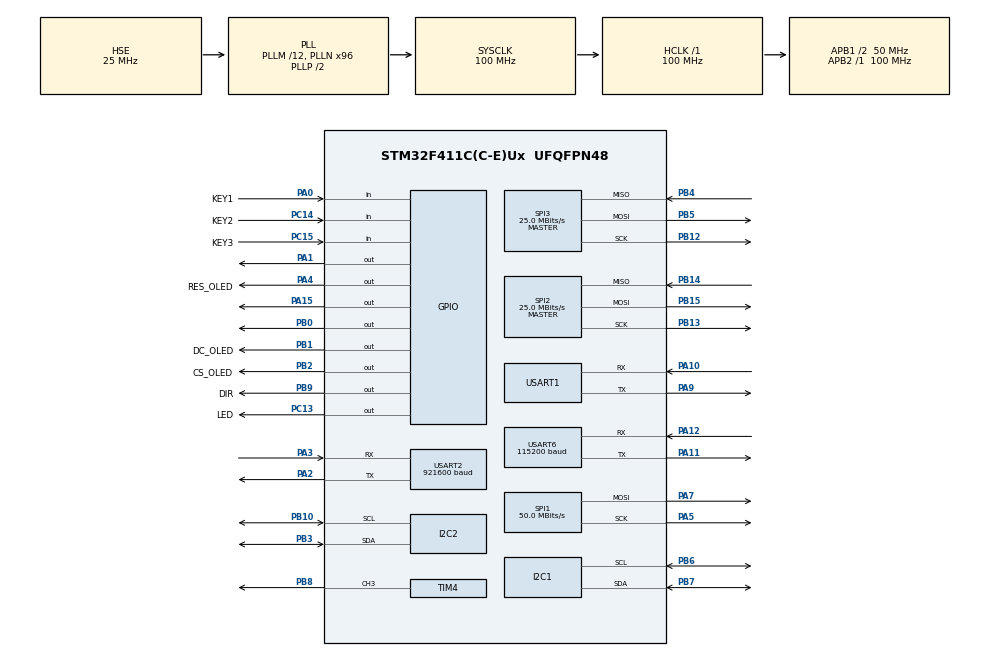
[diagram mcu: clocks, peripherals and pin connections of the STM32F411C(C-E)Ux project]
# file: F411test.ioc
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Dma.Request0=USART1_RX
Dma.Request1=USART6_RX
Dma.USART1_RX.0.Direction=DMA_PERIPH_TO_MEMORY
Dma.USART1_RX.0.FIFOMode=DMA_FIFOMODE_DISABLE
Dma.USART1_RX.0.Instance=DMA2_Stream2
Dma.USART1_RX.0.MemDataAlignment=DMA_MDATAALIGN_BYTE
Dma.USART1_RX.0.MemInc=DMA_MINC_ENABLE
Dma.USART1_RX.0.Mode=DMA_NORMAL
Dma.USART1_RX.0.PeriphDataAlignment=DMA_PDATAALIGN_BYTE
Dma.USART1_RX.0.PeriphInc=DMA_PINC_DISABLE
Dma.USART1_RX.0.Priority=DMA_PRIORITY_HIGH
Dma.USART6_RX.1.Direction=DMA_PERIPH_TO_MEMORY
Dma.USART6_RX.1.FIFOMode=DMA_FIFOMODE_DISABLE
Dma.USART6_RX.1.Instance=DMA2_Stream1
Dma.USART6_RX.1.MemDataAlignment=DMA_MDATAALIGN_BYTE
Dma.USART6_RX.1.MemInc=DMA_MINC_ENABLE
Dma.USART6_RX.1.Mode=DMA_NORMAL
Dma.USART6_RX.1.PeriphDataAlignment=DMA_PDATAALIGN_BYTE
Dma.USART6_RX.1.PeriphInc=DMA_PINC_DISABLE
Dma.USART6_RX.1.Priority=DMA_PRIORITY_VERY_HIGH
Mcu.Family=STM32F4
Mcu.Name=STM32F411C(C-E)Ux
Mcu.Package=UFQFPN48
NVIC.DMA2_Stream1_IRQn=true\:0\:0\:false\:false\:true\:false\:true\:true
NVIC.DMA2_Stream2_IRQn=true\:0\:0\:false\:false\:true\:false\:true\:true
NVIC.PriorityGroup=NVIC_PRIORITYGROUP_4
NVIC.TIM2_IRQn=true\:2\:0\:true\:false\:true\:true\:true\:true
NVIC.TIM4_IRQn=true\:0\:0\:false\:false\:true\:true\:true\:true
NVIC.USART1_IRQn=true\:1\:0\:true\:false\:true\:true\:true\:true
NVIC.USART6_IRQn=true\:0\:0\:true\:false\:true\:true\:true\:true
PA0-WKUP.GPIO_Label=KEY1
PA0-WKUP.GPIO_PuPd=GPIO_PULLDOWN
PA0-WKUP.Signal=GPIO_Input
PA1.Signal=GPIO_Output
PA10.Mode=Asynchronous
PA10.Signal=USART1_RX
PA11.Mode=Asynchronous
PA11.Signal=USART6_TX
PA12.Mode=Asynchronous
PA12.Signal=USART6_RX
PA13.Mode=Serial_Wire
PA13.Signal=SYS_JTMS-SWDIO
PA14.Mode=Serial_Wire
PA14.Signal=SYS_JTCK-SWCLK
PA15.Signal=GPIO_Output
PA2.Mode=Asynchronous
PA2.Signal=USART2_TX
PA3.Mode=Asynchronous
PA3.Signal=USART2_RX
PA4.GPIO_Label=RES_OLED
PA4.Signal=GPIO_Output
PA5.Mode=TX_Only_Simplex_Unidirect_Master
PA5.Signal=SPI1_SCK
PA7.Mode=TX_Only_Simplex_Unidirect_Master
PA7.Signal=SPI1_MOSI
PA9.Mode=Asynchronous
PA9.Signal=USART1_TX
PB0.Signal=GPIO_Output
PB1.GPIO_Label=DC_OLED
PB1.Signal=GPIO_Output
PB10.Mode=I2C
PB10.Signal=I2C2_SCL
PB12.Mode=Full_Duplex_Master
PB12.Signal=SPI3_SCK
PB13.Mode=Full_Duplex_Master
PB13.Signal=SPI2_SCK
PB14.Mode=Full_Duplex_Master
PB14.Signal=SPI2_MISO
PB15.Mode=Full_Duplex_Master
PB15.Signal=SPI2_MOSI
PB2.GPIO_Label=CS_OLED
PB2.Signal=GPIO_Output
PB3.Mode=I2C
PB3.Signal=I2C2_SDA
PB4.Mode=Full_Duplex_Master
PB4.Signal=SPI3_MISO
PB5.Mode=Full_Duplex_Master
PB5.Signal=SPI3_MOSI
PB6.Mode=I2C
PB6.Signal=I2C1_SCL
PB7.Mode=I2C
PB7.Signal=I2C1_SDA
PB8.Signal=S_TIM4_CH3
PB9.GPIO_Label=DIR
PB9.Signal=GPIO_Output
PC13-ANTI_TAMP.GPIO_Label=LED
PC13-ANTI_TAMP.GPIO_PuPd=GPIO_PULLUP
PC13-ANTI_TAMP.Signal=GPIO_Output
PC14-OSC32_IN.GPIO_Label=KEY2
PC14-OSC32_IN.GPIO_PuPd=GPIO_PULLUP
PC14-OSC32_IN.Signal=GPIO_Input
PC15-OSC32_OUT.GPIO_Label=KEY3
PC15-OSC32_OUT.GPIO_PuPd=GPIO_PULLUP
PC15-OSC32_OUT.Signal=GPIO_Input
PH0\ -\ OSC_IN.Mode=HSE-External-Oscillator
PH0\ -\ OSC_IN.Signal=RCC_OSC_IN
PH1\ -\ OSC_OUT.Mode=HSE-External-Oscillator
PH1\ -\ OSC_OUT.Signal=RCC_OSC_OUT
ProjectManager.HeapSize=0x800
ProjectManager.StackSize=0xA00
ProjectManager.TargetToolchain=MDK-ARM V5.32
RCC.48MHZClocksFreq_Value=50000000
RCC.AHBFreq_Value=100000000
RCC.APB1CLKDivider=RCC_HCLK_DIV2
RCC.APB1Freq_Value=50000000
RCC.APB1TimFreq_Value=100000000
RCC.APB2Freq_Value=100000000
RCC.APB2TimFreq_Value=100000000
RCC.CortexFreq_Value=100000000
RCC.HCLKFreq_Value=100000000
RCC.HSE_VALUE=25000000
RCC.HSI_VALUE=16000000
RCC.LSE_VALUE=32768
RCC.PLLM=12
RCC.PLLN=96
RCC.PLLSourceVirtual=RCC_PLLSOURCE_HSE
RCC.SYSCLKFreq_VALUE=100000000
RCC.SYSCLKSource=RCC_SYSCLKSOURCE_PLLCLK
RCC.VCOOutputFreq_Value=200000000
SH.S_TIM4_CH3.0=TIM4_CH3,PWM Generation3 CH3
SPI1.CalculateBaudRate=50.0 MBits/s
SPI1.Direction=SPI_DIRECTION_2LINES
SPI1.Mode=SPI_MODE_MASTER
SPI1.VirtualType=VM_MASTER
SPI2.BaudRatePrescaler=SPI_BAUDRATEPRESCALER_2
SPI2.CalculateBaudRate=25.0 MBits/s
SPI2.Direction=SPI_DIRECTION_2LINES
SPI2.Mode=SPI_MODE_MASTER
SPI2.VirtualType=VM_MASTER
SPI3.CalculateBaudRate=25.0 MBits/s
SPI3.Direction=SPI_DIRECTION_2LINES
SPI3.Mode=SPI_MODE_MASTER
SPI3.VirtualType=VM_MASTER
TIM2.Period=1999
TIM2.Prescaler=99
TIM4.Channel-PWM\ Generation3\ CH3=TIM_CHANNEL_3
TIM4.Period=1000 - 1
USART1.VirtualMode=VM_ASYNC
USART2.BaudRate=921600
USART2.VirtualMode=VM_ASYNC
USART6.BaudRate=115200
USART6.VirtualMode=VM_ASYNC
VP_TIM2_VS_ClockSourceINT.Mode=Internal
VP_TIM4_VS_ClockSourceINT.Mode=Internal
board=custom

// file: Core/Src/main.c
/* USER CODE BEGIN Header */
/**
  ******************************************************************************
  * @file           : main.c
  * @brief          : Main program body
  ******************************************************************************
  * @attention
  *
  * Copyright (c) 2026 STMicroelectronics.
  * All rights reserved.
  *
  * This software is licensed under terms that can be found in the LICENSE file
  * in the root directory of this software component.
  * If no LICENSE file comes with this software, it is provided AS-IS.
  *
  ******************************************************************************
  */
/* USER CODE END Header */
#include "main.h"
#include "dma.h"
#include "i2c.h"
#include "spi.h"
#include "tim.h"
#include "usart.h"
#include "gpio.h"

/* USER CODE BEGIN Includes */
// #define STATIC_QUEUE_ENTER_CRITICAL() __disable_irq()
// #define STATIC_QUEUE_EXIT_CRITICAL()  __enable_irq()
#include <stdbool.h>
#include "oled.h"
#include "Log.h"
#include "mpu6050.h"
#include "mpu6050_user.h"
#include "MadgwickAHRS.h"
#include "ZDT_Motor_Serial.h"
#include "multikey.h"
#include "PID_Node.h"
#include "app_protocol.h"
#include "app_menu.h"
#include "Task_Control.h"
#include "Task4_Control.h"
#include "ZDT_Pulse_Control.h"
/* USER CODE END Includes */

/* USER CODE BEGIN PD */
#define IMU_UPDATE_PERIOD_MS 2u        // TIM2中断周期 2ms
#define PID_DT              0.002f     // 控制周期(秒)
/* USER CODE END PD */

/* USER CODE BEGIN PM */
void __uart2_tx(const char* buffer, size_t buffer_size)
{
  (void)buffer;
  (void)buffer_size;
  // HAL_UART_Transmit(&huart6, (uint8_t*)buffer, buffer_size, HAL_MAX_DELAY);
}
/* USER CODE END PM */

/* USER CODE BEGIN PV */
/* DMA 接收缓冲 */
#define U6_BUF  256
#define U1_BUF  128
static uint8_t u6_buf[U6_BUF];
static uint8_t u1_buf[U1_BUF];

size_t text_len = 0;
bool text_buffer_updated = false;
volatile uint32_t rx_total = 0;
MPU6050_Data_t* mpu_data = NULL;
ZDT_Motor_Handle_t x_asix_motor;
MulitKey_t key1;
MulitKey_t key2;
MulitKey_t key3;
PID_Node x_axis_pid;
volatile float x_axis_target_angle = 0.0f;  // 目标角度，单位：度
static uint8_t Oled_page_index = 0;
static bool Enter_Oled_page = false;
static bool Task3_excuting = false;
static float man_angle = 28.0f;   /* 打表: 按键调节的电机角度 */
/* USER CODE END PV */

void SystemClock_Config(void);
/* USER CODE BEGIN PFP */
/* ---- 打表按键: K2 +0.1° / K3 -0.1° / K1 一键校准偏移 ---- */
static uint8_t read_k1(MulitKey_t* k) { (void)k; return HAL_GPIO_ReadPin(KEY1_GPIO_Port, KEY1_Pin) == GPIO_PIN_SET ? 1 : 0; }
static void on_k1(MulitKey_t* k) { (void)k; Table_CalibrateOffset(g_ball_pos * 0.1f, man_angle); }
static uint8_t read_k2(MulitKey_t* k) { (void)k; return HAL_GPIO_ReadPin(KEY2_GPIO_Port, KEY2_Pin) == GPIO_PIN_SET ? 1 : 0; }
static void on_k2(MulitKey_t* k) { (void)k; man_angle += 0.1f; }
static uint8_t read_k3(MulitKey_t* k) { (void)k; return HAL_GPIO_ReadPin(KEY3_GPIO_Port, KEY3_Pin) == GPIO_PIN_SET ? 1 : 0; }
static void on_k3(MulitKey_t* k) { (void)k; man_angle -= 0.1f; }
/* USER CODE END PFP */

/* USER CODE BEGIN 0 */

void ZDT_Send_Tx_callback(uint8_t *pData, uint16_t Size)
{
    HAL_UART_Transmit(&huart2, pData, Size, HAL_MAX_DELAY);
}

/* -------- 云台控制 -------- */

/* USER CODE END 0 */

int main(void)
{

  /* MCU Configuration--------------------------------------------------------*/

  /* Reset of all peripherals, Initializes the Flash interface and the Systick. */
  HAL_Init();

  /* Configure the system clock */
  SystemClock_Config();

  /* Initialize all configured peripherals */
  MX_GPIO_Init();
  MX_DMA_Init();
  MX_I2C1_Init();
  MX_I2C2_Init();
  MX_SPI1_Init();
  MX_SPI2_Init();
  MX_USART1_UART_Init();
  MX_USART2_UART_Init();
  MX_USART6_UART_Init();
  MX_SPI3_Init();
  MX_TIM2_Init();
  MX_TIM4_Init();
  /* USER CODE BEGIN 2 */
  LOG_Init(__uart2_tx);
  LOG_Set_Level(LOG_LEVEL_INFO);
  LOG_INFO("Hello, World!\n");
  char buffer[32] = {0};
  uint32_t last_tick = HAL_GetTick();
  LOG_Snprintf(buffer, sizeof(buffer), "Hello, World!\n");
  OLED_Init();
  OLED_Clear();
  OLED_ColorTurn(0);
  OLED_DisplayTurn(0);
  OLED_DisPlay_On();
  OLED_ShowString(0, 0, (uint8_t*)buffer, 16, 1);
  OLED_Refresh();
  MPU_Init();
  MPU6050_Calibrate(200);
  mpu_data = MPU6050_GetHandle();
  MadgwickAHRSsetSampleFreq(1000.0f / IMU_UPDATE_PERIOD_MS);
  ZDT_Init(&x_asix_motor,0x00,ZDT_Send_Tx_callback);
  ZDT_Enable(&x_asix_motor);
  Task3_Init();
  Task4_Init();
  Task4_Simple_Init();
  // ZDT_SetHomeOrigin(&x_asix_motor, true);
  ZDT_TriggerHome(&x_asix_motor, ZDT_HOME_NEAREST);
  HAL_Delay(1000);
  HAL_TIM_Base_Start_IT(&htim2);
  ZDT_Pulse_Init();
  ZDT_Pulse_Enable();
  App_Menu_Start();  // 默认 RUN

  // /* PID初始化: kp=角度→RPM, ki=消除静差, kd=微分预判减速 */
   App_Protocol_Init();
   App_Menu_Init();
  MulitKey_t mk1, mk2, mk3;
  MulitKey_Init(&mk1, read_k1, on_k1, on_k1, FALL_BORDER_TRIGGER);
  MulitKey_Init(&mk2, read_k2, on_k2, on_k2, FALL_BORDER_TRIGGER);
  MulitKey_Init(&mk3, read_k3, on_k3, on_k3, FALL_BORDER_TRIGGER);
  HAL_UARTEx_ReceiveToIdle_DMA(&huart6, u6_buf, U6_BUF);
  HAL_UARTEx_ReceiveToIdle_DMA(&huart1, u1_buf, U1_BUF);

  /* USER CODE END 2 */

  /* Infinite loop */
  /* USER CODE BEGIN WHILE */
  while (1)
  {
    /* 协议优先: OLED之前处理, 降低延迟 */
    for (size_t i = 0; i < 8; i++)
    {
      App_Protocol_Loop();
    }

    App_Menu_Process();

		if (HAL_GetTick() - last_tick >= 50)   // 20ms→50ms, 减OLED负担
    {
      last_tick = HAL_GetTick();
      char buf[32] = {0};
      App_Menu_GetModeNameAndStatus(buf, sizeof(buf));
      OLED_ShowString(32, 0, (uint8_t*)buf, 8, 1);
        switch (App_Menu_GetMode())
        {
        case MENU_ZDT_TEST:
          /* 打表模式: 上排=球位置(cm), 下排=当前角度 */
          LOG_Snprintf(buffer, sizeof(buffer), "BALL:%.1f cm", g_ball_pos * 0.1f);
          OLED_ShowString(0, 8, (uint8_t*)buffer, 8, 1);
          LOG_Snprintf(buffer, sizeof(buffer), "ANG:%.1f", man_angle);
          OLED_ShowString(0, 16, (uint8_t*)buffer, 8, 1);
          LOG_Snprintf(buffer, sizeof(buffer), "OFF:%.1f cm", g_pos_offset);
          OLED_ShowString(0, 24, (uint8_t*)buffer, 8, 1);
          LOG_Snprintf(buffer, sizeof(buffer), "vel:%.1f m/s",  g_vel_value);
				OLED_ShowString(0, 32, (uint8_t*)buffer, 8, 1);
            break;
        case MENU_TASK3:
          LOG_Snprintf(buffer, sizeof(buffer), "P:%.2f S:%u O:%.2f",
            Task3_GetCurrent(),Task3_GetStep(), Task3_GetOutput());
          OLED_ShowString(0, 8, (uint8_t*)buffer, 8, 1);
          LOG_Snprintf(buffer, sizeof(buffer), "A:%.2f", Task3_GetAngle());
          OLED_ShowString(0, 16, (uint8_t*)buffer, 8, 1);
          break;
        case MENU_TASK4:
          LOG_Snprintf(buffer, sizeof(buffer), "T:%.1f P:%.2f", g_ball_target, Task4_GetCurrent());
          OLED_ShowString(0, 8, (uint8_t*)buffer, 8, 1);
          LOG_Snprintf(buffer, sizeof(buffer), "O:%.2f V:%.2f", task4_simple_output(), g_vel_value);
          OLED_ShowString(0, 16, (uint8_t*)buffer, 8, 1);
            break;
        default:
          break;
        }
      OLED_Refresh();
    }
    #if LOG_USE_QUEUE == 1
   LOG_Process();
    #endif
    // LOG_DEBUG("rx:0x%2x", rx_byte);
    // HAL_Delay(300);
    /* USER CODE END WHILE */

  }
}

void SystemClock_Config(void)
{
  RCC_OscInitTypeDef RCC_OscInitStruct = {0};
  RCC_ClkInitTypeDef RCC_ClkInitStruct = {0};

  /** Configure the main internal regulator output voltage
  */
  __HAL_RCC_PWR_CLK_ENABLE();
  __HAL_PWR_VOLTAGESCALING_CONFIG(PWR_REGULATOR_VOLTAGE_SCALE1);

  /** Initializes the RCC Oscillators according to the specified parameters
  * in the RCC_OscInitTypeDef structure.
  */
  RCC_OscInitStruct.OscillatorType = RCC_OSCILLATORTYPE_HSE;
  RCC_OscInitStruct.HSEState = RCC_HSE_ON;
  RCC_OscInitStruct.PLL.PLLState = RCC_PLL_ON;
  RCC_OscInitStruct.PLL.PLLSource = RCC_PLLSOURCE_HSE;
  RCC_OscInitStruct.PLL.PLLM = 12;
  RCC_OscInitStruct.PLL.PLLN = 96;
  RCC_OscInitStruct.PLL.PLLP = RCC_PLLP_DIV2;
  RCC_OscInitStruct.PLL.PLLQ = 4;
  if (HAL_RCC_OscConfig(&RCC_OscInitStruct) != HAL_OK)
  {
    Error_Handler();
  }

  /** Initializes the CPU, AHB and APB buses clocks
  */
  RCC_ClkInitStruct.ClockType = RCC_CLOCKTYPE_HCLK|RCC_CLOCKTYPE_SYSCLK
                              |RCC_CLOCKTYPE_PCLK1|RCC_CLOCKTYPE_PCLK2;
  RCC_ClkInitStruct.SYSCLKSource = RCC_SYSCLKSOURCE_PLLCLK;
  RCC_ClkInitStruct.AHBCLKDivider = RCC_SYSCLK_DIV1;
  RCC_ClkInitStruct.APB1CLKDivider = RCC_HCLK_DIV2;
  RCC_ClkInitStruct.APB2CLKDivider = RCC_HCLK_DIV1;

  if (HAL_RCC_ClockConfig(&RCC_ClkInitStruct, FLASH_LATENCY_3) != HAL_OK)
  {
    Error_Handler();
  }
}

/* USER CODE BEGIN 4 */
void HAL_TIM_PeriodElapsedCallback(TIM_HandleTypeDef *htim)
{
  if (htim->Instance == TIM2)
  {
    MPU6050_Update();

    MenuMode mode = App_Menu_GetMode();
    bool     run  = App_Menu_IsRunning();

    if (run && mode == MENU_TASK3) {
      if (Task4_Simple_IsRunning()) Task4_Simple_Stop();
      if (!Task3_IsRunning() && !Task3_IsDone()) Task3_Start();
      Task3_Update(2.0f);
      Task3_Control_Send();
    } else if (run && mode == MENU_TASK4) {
      if (Task3_IsRunning() || Task3_IsDone()) Task3_Stop();
      if (!Task4_Simple_IsRunning()) Task4_Simple_Start();
      Task4_Simple_Update(2.0f);
      Task4_Simple_Control_Send();
    } else if (run && mode == MENU_ZDT_TEST) {
      if (Task3_IsRunning() || Task3_IsDone()) Task3_Stop();
      if (Task4_Simple_IsRunning()) Task4_Simple_Stop();
      ZDT_Pulse_MoveToClk(ZDT_Pulse_AngleToClk(28.0f));
    } else {
      if (Task3_IsRunning() || Task3_IsDone()) Task3_Stop();
      if (Task4_Simple_IsRunning()) Task4_Simple_Stop();
    }
  }
}
void HAL_TIM_PWM_PulseFinishedCallback(TIM_HandleTypeDef *htim)
{
    if (htim->Instance == TIM4) {
        ZDT_Pulse_PeriodElapsedCallback(htim);
    }
}
void HAL_GPIO_EXTI_Callback(uint16_t pin)
{
    ZDT_Pulse_EXTI_Callback(pin);
}

// void HAL_UARTEx_RxEventCallback(UART_HandleTypeDef *huart, uint16_t Size)
// {
//   if (huart->Instance == USART6)
//   {
//     APP_Protocol_FeedBuffer(rx_buffer, Size);
// 		HAL_UARTEx_ReceiveToIdle_IT(&huart6, rx_buffer, sizeof(rx_buffer));
//   }
// }

/* DMA+IDLE: 收完一帧才回调, 一次喂整帧 */
void HAL_UARTEx_RxEventCallback(UART_HandleTypeDef *huart, uint16_t Size)
{
  if (huart->Instance == USART6 && Size > 0) {
    HAL_GPIO_TogglePin(LED_GPIO_Port, LED_Pin);
    APP_Protocol_FeedBuffer(u6_buf, Size);
    HAL_UARTEx_ReceiveToIdle_DMA(&huart6, u6_buf, U6_BUF);
  }
  if (huart->Instance == USART1 && Size > 0) {
    App_Protocol_FeedBuffer_UART1(u1_buf, Size);
    HAL_UARTEx_ReceiveToIdle_DMA(&huart1, u1_buf, U1_BUF);
  }
}
/* USER CODE END 4 */

void Error_Handler(void)
{
  __disable_irq();
  while (1)
  {
  }
}
